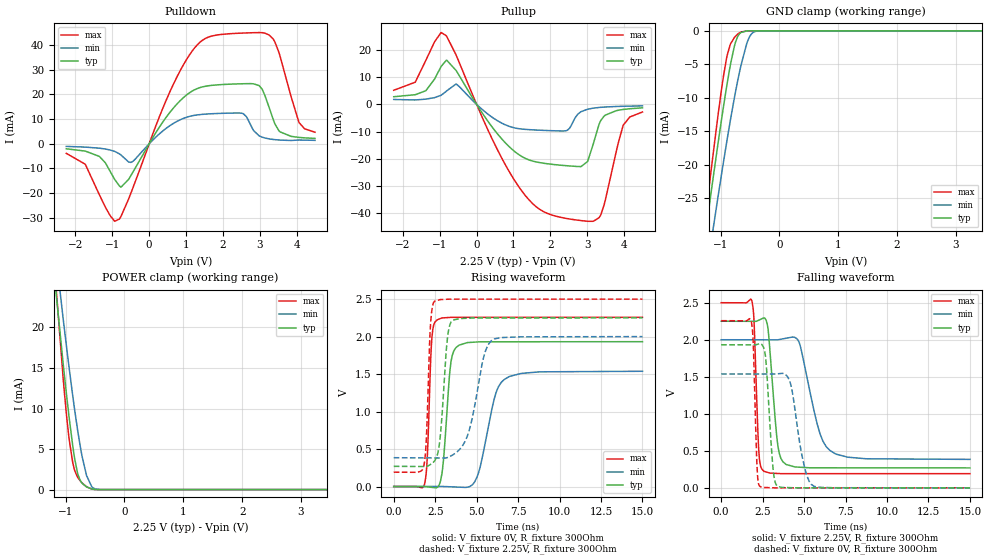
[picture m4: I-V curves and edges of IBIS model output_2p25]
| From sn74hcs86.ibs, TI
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|   output_2p25 Model
[Model]   output_2p25
Model_type   Output
Polarity   Non-Inverting
Vmeas = 1.125
Vref = 0
Cref = 2pF
Rref = 100000
|   typ   min   max
C_comp   0.937pF   0.886pF   0.963pF
| Where Nom  PVT is Nominal Process, 2.25V, 27C
|   Fast PVT is Strong Process,  2.50V, -55C
|   Slow PVT is Weak Process,   2.0V, 150C
[Voltage Range]   2.25   2   2.5
|Junction Temperature
[Temperature Range]   27   150   -55
[Pullup Reference]   2.25   2   2.5
[Pulldown Reference]   0   0   0
[Power Clamp Reference]   2.25   2   2.5
[GND Clamp Reference]   0   0   0
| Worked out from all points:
|   slope of the pulldown table from 0 to 0.337 V, typ, clamps not added: 41.6 ohm
|   slope of the pullup table from 0 to 0.337 V, typ, clamps not added: 49.5 ohm
|   GND clamp passes 1 mA (typ) near -0.72 V on its own axis
|   POWER clamp passes 1 mA (typ) near -0.74 V on its own axis
|   falling waveform, V_fixture 2.25V, R_fixture 300Ohm: 20-80 % time 427ps typ, 992ps min, 216ps max; typ from 2.25 V to 0.269 V
|   rising waveform, V_fixture 0V, R_fixture 300Ohm: 20-80 % time 377ps typ, 879ps min, 215ps max; typ from 0 V to 1.93 V
|   rising waveform, V_fixture 2.25V, R_fixture 300Ohm: 20-80 % time 379ps typ, 878ps min, 218ps max; typ from 0.269 V to 2.25 V
|   falling waveform, V_fixture 0V, R_fixture 300Ohm: 20-80 % time 325ps typ, 662ps min, 177ps max; typ from 1.93 V to 0 V
[Pulldown]
|   Voltage   I(typ)   I(min)   I(max)
-2.25V    -2.019mA   -1.051mA   -3.867mA
-1.737V   -2.956mA   -1.338mA   -8.261mA
-1.352V   -5.109mA   -1.777mA   -20.65mA
-805.5mV  -17.13mA   -4.093mA   -30.48mA
-461.2mV  -11.99mA   -7.313mA   -18.63mA
949.5mV   18.99mA    10.42mA    32.57mA
2.057V    24.09mA    12.39mA    44.49mA
2.556V    24.35mA    12.19mA    44.91mA
2.981V    23.61mA    3.258mA    45.1mA
3.359V    10.14mA    1.771mA    42.63mA
4.061V    2.596mA    1.53mA     8.818mA
4.5V      2.197mA    1.398mA    4.702mA
[GND Clamp]
|   Voltage   I(typ)   I(min)   I(max)
-2.25V    -97.51mA   -98.31mA   -106.7mA
-1.413V   -40.56mA   -46.57mA   -39.9mA
-1.17V    -24.74mA   -32.11mA   -21.56mA
-1.157V   -23.88mA   -31.32mA   -20.58mA
-1.048V   -17.16mA   -25.09mA   -13.01mA
-954mV    -11.56mA   -19.8mA    -7.02mA
-886.5mV  -7.821mA   -16.15mA   -3.647mA
-758.2mV  -2.094mA   -9.706mA   -933.8uA
-650.2mV  -236.3uA   -5.079mA   -178.5uA
-515.2mV  -9.553uA   -1.047mA   -5.579uA
-373.5mV  -159.7nA   -38.68uA   -18.72nA
4.5V      0A         0A         0A
[Pullup]
|   Voltage   I(typ)   I(min)   I(max)
-2.25V    2.824mA    1.819mA    5.194mA
-1.669V   3.557mA    1.632mA    8.15mA
-1.379V   5.027mA    1.94mA     16.19mA
-825.7mV  16.2mA     4.794mA    25.31mA
-555.7mV  12.46mA    7.533mA    18.14mA
463.5mV   -9.106mA   -5.134mA   -13.92mA
1.253V    -19.4mA    -9.115mA   -32.38mA
2.434V    -22.56mA   -9.668mA   -41.98mA
3.015V    -20.85mA   -1.762mA   -43.03mA
3.454V    -4.395mA   -992.6uA   -37.21mA
3.974V    -1.87mA    -692.2uA   -7.807mA
4.5V      -1.267mA   -550uA     -2.795mA
[POWER Clamp]
|   Voltage   I(typ)   I(min)   I(max)
-2.25V    111.3mA    101.8mA    143.6mA
-1.305V   34.66mA    37.92mA    38.3mA
-1.042V   15.57mA    21.11mA    13.76mA
-987.8mV  11.94mA    17.84mA    9.441mA
-940.5mV  8.946mA    15.06mA    6.255mA
-879.8mV  5.467mA    11.64mA    3.383mA
-792mV    1.914mA    7.17mA     1.486mA
-717.7mV  771.2uA    4.03mA     811.5uA
-643.5mV  332.5uA    1.729mA    341.9uA
-555.7mV  82.38uA    359.8uA    63.02uA
-420.8mV  3.273uA    16.09uA    933.6nA
4.5V      0A         0A         0A
[Ramp]
R_load = 300
|   typ   min   max
dV/dt_r   1.15931/3.7709e-10   0.922472/8.75361e-10   1.3543/2.14529e-10
dV/dt_f   1.18843/4.26313e-10   0.96929/9.90291e-10   1.38516/2.1601e-10
[Falling Waveform]
V_fixture = 2.25V
V_fixture_min = 2V
V_fixture_max = 2.5V
R_fixture = 300Ohm
C_fixture = 0F
|   Time   V(typ)   V(min)   V(max)
0s        2.25V      2V         2.5V
1.848ns   2.249V     1.999V     2.525V
2.28ns    2.265V     1.999V     459.5mV
2.571ns   2.296V     1.999V     225.4mV
2.827ns   2.142V     1.999V     206.9mV
3.431ns   551.5mV    2V         194mV
3.901ns   318.6mV    2.02V      192mV
4.692ns   279.4mV    1.969V     192mV
6.54ns    270.8mV    508.5mV    191.9mV
15ns      269.3mV    384.5mV    191.4mV
[Rising Waveform]
V_fixture = 0V
V_fixture_min = 0V
V_fixture_max = 0V
R_fixture = 300Ohm
C_fixture = 0F
|   Time   V(typ)   V(min)   V(max)
0s        5.761uV    9.239uV    3.21uV
1.848ns   759.6uV    436.1uV    25.37mV
2.298ns   -11.33mV   539.9uV    1.97V
2.623ns   -10.61mV   615uV      2.224V
2.944ns   233.6mV    689uV      2.249V
3.456ns   1.666V     -3.939mV   2.257V
3.934ns   1.885V     -8.271mV   2.257V
5.028ns   1.928V     128.9mV    2.257V
6.645ns   1.931V     1.424V     2.257V
15ns      1.932V     1.537V     2.257V
[Rising Waveform]
V_fixture = 2.25V
V_fixture_min = 2V
V_fixture_max = 2.5V
R_fixture = 300Ohm
C_fixture = 0F
|   Time   V(typ)   V(min)   V(max)
0s        269.3mV    384.5mV    191.4mV
1.798ns   267.3mV    382.1mV    260.5mV
1.966ns   267.1mV    381.9mV    633mV
2.221ns   295.1mV    381.6mV    2.167V
2.465ns   342.7mV    381.2mV    2.471V
2.798ns   651mV      380.8mV    2.494V
3.262ns   2.019V     388mV      2.499V
3.559ns   2.219V     421.1mV    2.5V
6.02ns    2.249V     1.966V     2.5V
15ns      2.25V      2V         2.5V
[Falling Waveform]
|Gnd
V_fixture = 0V
V_fixture_min = 0V
V_fixture_max = 0V
R_fixture = 300Ohm
C_fixture = 0F
|   Time   V(typ)   V(min)   V(max)
0s        1.932V     1.537V     2.257V
1.821ns   1.931V     1.537V     2.245V
2.172ns   1.937V     1.537V     241.7mV
2.35ns    1.949V     1.537V     16.42mV
2.663ns   1.791V     1.537V     4.641mV
3.134ns   247.6mV    1.537V     909.1uV
3.414ns   18.76mV    1.54V      392.5uV
4.133ns   3.026mV    1.441V     368.3uV
5.589ns   659.1uV    22.58mV    319.5uV
15ns      5.97uV     9.55uV     3.344uV
